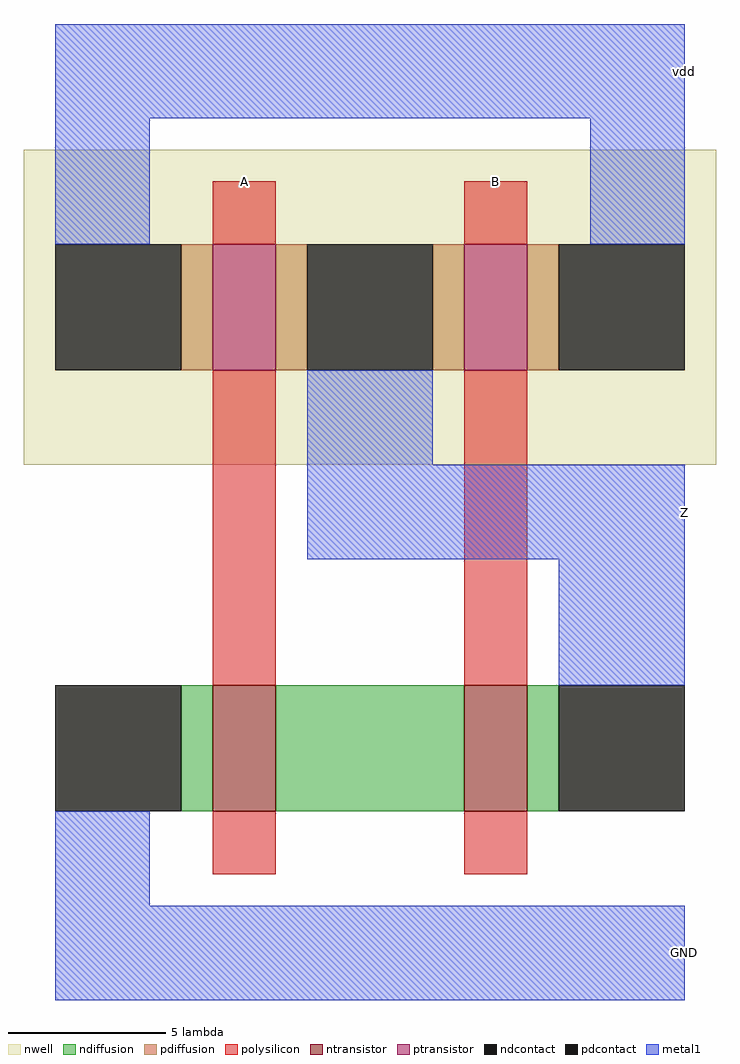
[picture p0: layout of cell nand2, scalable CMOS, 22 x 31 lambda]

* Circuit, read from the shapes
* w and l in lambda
.subckt nand2 A B GND Z vdd
M1 n1 A GND VSUBS nfet w=4 l=2
M2 Z B n1 VSUBS nfet w=4 l=2
M3 Z A vdd n2 pfet w=4 l=2
M4 vdd B Z n2 pfet w=4 l=2
.ends

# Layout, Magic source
magic
tech scmos
<< nwell >>
rect -6 1 16 11
<< polysilicon >>
rect 0 8 2 10
rect 8 8 10 10
rect 0 -6 2 4
rect 8 -6 10 4
rect 0 -12 2 -10
rect 8 -12 10 -10
<< ndiffusion >>
rect -1 -10 0 -6
rect 2 -10 8 -6
rect 10 -10 11 -6
<< pdiffusion >>
rect -1 4 0 8
rect 2 4 3 8
rect 7 4 8 8
rect 10 4 11 8
<< metal1 >>
rect -5 12 15 15
rect -5 8 -2 12
rect 12 8 15 12
rect 3 1 7 4
rect 3 -2 15 1
rect 11 -6 15 -2
rect -5 -13 -2 -10
rect -5 -16 15 -13
<< ntransistor >>
rect 0 -10 2 -6
rect 8 -10 10 -6
<< ptransistor >>
rect 0 4 2 8
rect 8 4 10 8
<< ndcontact >>
rect -5 -10 -1 -6
rect 11 -10 15 -6
<< pdcontact >>
rect -5 4 -1 8
rect 3 4 7 8
rect 11 4 15 8
<< labels >>
rlabel metal1 15 -2 15 1 3 Z
rlabel polysilicon 0 10 2 10 1 A
rlabel polysilicon 8 10 10 10 1 B
rlabel metal1 15 12 15 15 6 vdd
rlabel metal1 15 -16 15 -13 8 GND
<< end >>
